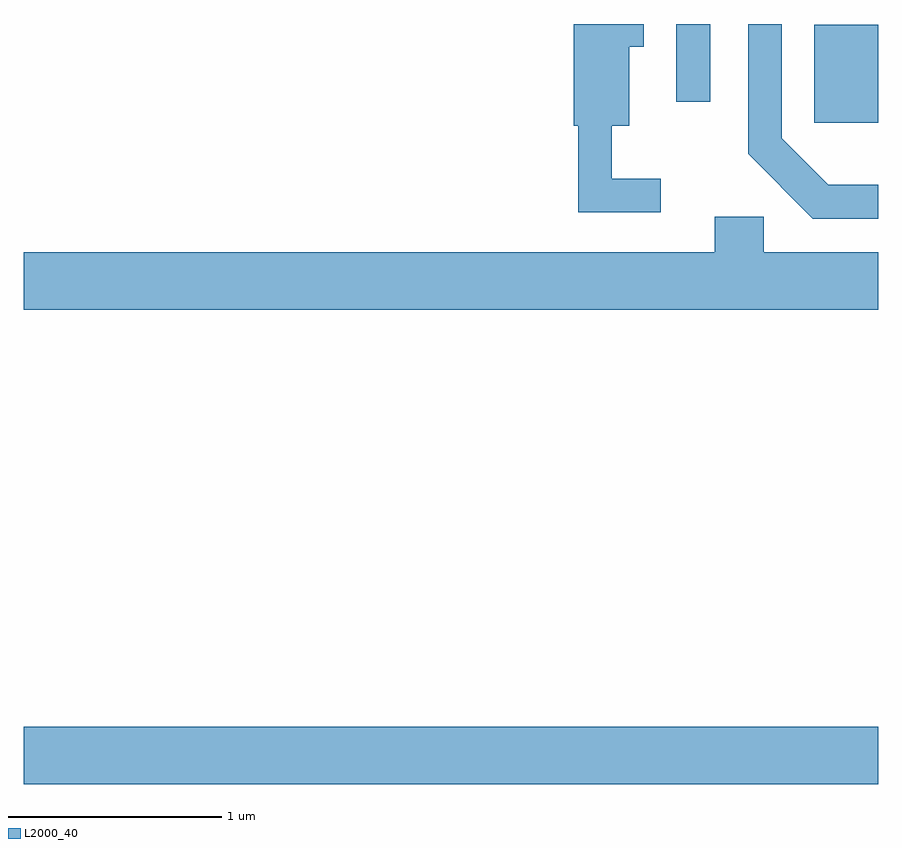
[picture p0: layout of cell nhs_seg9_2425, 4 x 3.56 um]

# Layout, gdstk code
import gdstk
lib = gdstk.Library(unit=1e-6, precision=1e-09)
def R(c, l, rs):  # rectangles x0, y0, x1, y1
    for r in rs: c.add(gdstk.rectangle(r[:2], r[2:], *l))
def P(c, l, *ps):  # polygons
    for p in ps: c.add(gdstk.Polygon(p, *l))
L2000_40 = (2000, 40)

nhs_seg9_2425 = lib.new_cell('nhs_seg9_2425')
R(nhs_seg9_2425, L2000_40, [(255.611,2042.876,259.611,2043.144), (259.311,2045.971,259.611,2046.429), (258.666,2046.068,258.824,2046.432)])
P(nhs_seg9_2425, L2000_40, [(259.611,2045.679),(259.377,2045.679),(259.159,2045.897),(259.159,2046.432),(259.001,2046.432),(259.001,2045.824),(259.304,2045.521),(259.611,2045.521)],
  [(258.593,2045.709),(258.364,2045.709),(258.364,2045.956),(258.444,2045.956),(258.444,2046.326),(258.514,2046.326),(258.514,2046.432),(258.186,2046.432),(258.186,2045.956),(258.206,2045.956),(258.206,2045.551),(258.593,2045.551)],
  [(259.611,2045.364),(259.074,2045.364),(259.074,2045.529),(258.846,2045.529),(258.846,2045.364),(255.611,2045.364),(255.611,2045.096),(259.611,2045.096)])

lib.write_gds('nhs_seg9_2425.gds')
